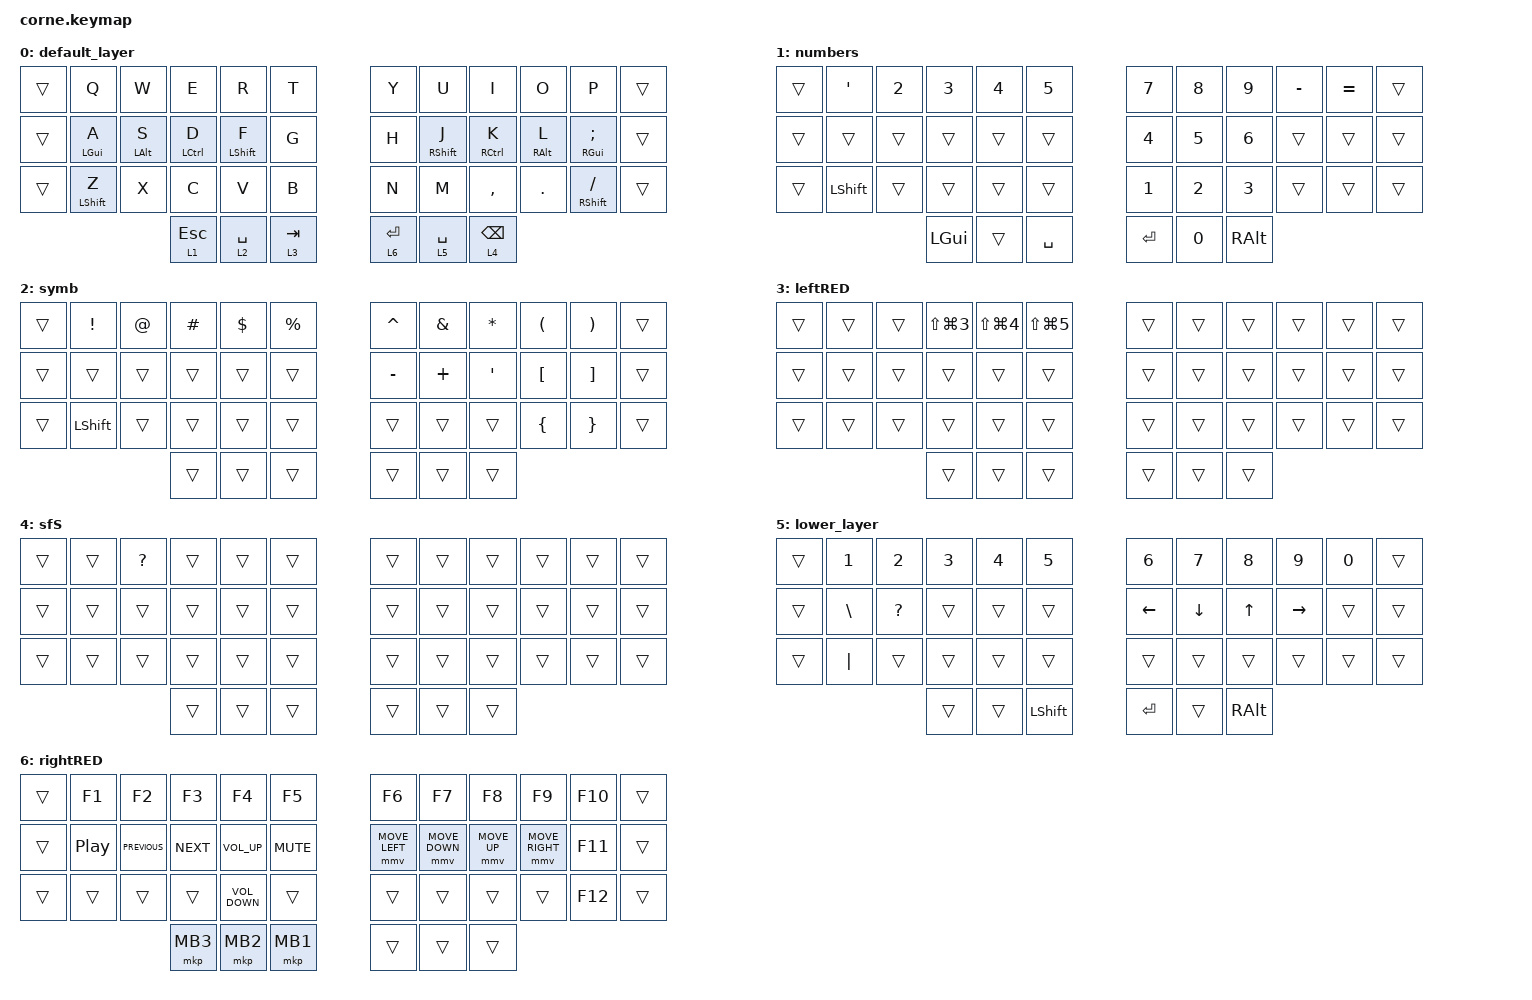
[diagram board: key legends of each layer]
/*
 * Copyright (c) 2020 The ZMK Contributors
 *
 * SPDX-License-Identifier: MIT
 */

#include <behaviors.dtsi>
#include <dt-bindings/zmk/keys.h>
#include <dt-bindings/zmk/pointing.h>

/ {
    combos {
        compatible = "zmk,combos";

        backspace {
            bindings = <&kp BACKSPACE>;
            key-positions = <10 9>;
        };

        deck {
            bindings = <&lt 0 C_AC_DESKTOP_SHOW_ALL_APPLICATIONS>;
            key-positions = <38 39>;
        };
    };

    keymap {
        compatible = "zmk,keymap";

        default_layer {
            // -----------------------------------------------------------------------------------------
            // |  TAB |  Q  |  W  |  E  |  R  |  T  |   |  Y  |  U   |  I  |  O  |  P  | BSPC |
            // | CTRL |  A  |  S  |  D  |  F  |  G  |   |  H  |  J   |  K  |  L  |  ;  |  '   |
            // | SHFT |  Z  |  X  |  C  |  V  |  B  |   |  N  |  M   |  ,  |  .  |  /  | ESC  |
            //                    | GUI | LWR | SPC |   | ENT | RSE  | ALT |

            bindings = <
&trans  &kp Q             &kp W           &kp E         &kp R             &kp T        &kp Y        &kp U              &kp I            &kp O            &kp P                  &trans
&trans  &mt LEFT_GUI A    &mt LEFT_ALT S  &mt LCTRL D   &mt LEFT_SHIFT F  &kp G        &kp H        &mt RIGHT_SHIFT J  &mt RCTRL K      &mt RIGHT_ALT L  &mt RIGHT_GUI SEMI     &trans
&trans  &mt LEFT_SHIFT Z  &kp X           &kp C         &kp V             &kp B        &kp N        &kp M              &kp COMMA        &kp DOT          &mt RIGHT_SHIFT SLASH  &trans
                                          &lt 1 ESCAPE  &lt 2 SPACE       &lt 3 TAB    &lt 6 ENTER  &lt 5 SPACE        &lt 4 BACKSPACE
            >;
        };

        numbers {
            // -----------------------------------------------------------------------------------------
            // |  TAB |  !  |  @  |  #  |  $  |  %  |   |  ^  |  &  |  *  |  (  |  )  | BSPC |
            // | CTRL |     |     |     |     |     |   |  -  |  =  |  [  |  ]  |  \  |  `   |
            // | SHFT |     |     |     |     |     |   |  _  |  +  |  {  |  }  | "|" |  ~   |
            //                    | GUI |     | SPC |   | ENT |     | ALT |

            bindings = <
&trans  &kp SINGLE_QUOTE  &kp N2  &kp N3    &kp N4  &kp N5       &kp N7   &kp N8  &kp N9    &kp MINUS  &kp EQUAL  &trans
&trans  &trans            &trans  &trans    &trans  &trans       &kp N4   &kp N5  &kp N6    &trans     &trans     &trans
&trans  &kp LSHFT         &trans  &trans    &trans  &trans       &kp N1   &kp N2  &kp N3    &trans     &trans     &trans
                                  &kp LGUI  &trans  &kp SPACE    &kp RET  &kp N0  &kp RALT
            >;
        };

        symb {
            bindings = <
&trans  &kp EXCLAMATION  &kp AT_SIGN  &kp HASH  &kp DOLLAR  &kp PERCENT    &kp CARET  &kp AMPERSAND  &kp ASTERISK  &kp LEFT_PARENTHESIS  &kp RIGHT_PARENTHESIS  &trans
&trans  &trans           &trans       &trans    &trans      &trans         &kp MINUS  &kp PLUS       &kp SQT       &kp LEFT_BRACKET      &kp RIGHT_BRACKET      &trans
&trans  &kp LEFT_SHIFT   &trans       &trans    &trans      &trans         &trans     &trans         &trans        &kp LEFT_BRACE        &kp RIGHT_BRACE        &trans
                                      &trans    &trans      &trans         &trans     &trans         &trans
            >;
        };

        leftRED {
            bindings = <
&trans  &trans  &trans  &kp LS(LG(NUMBER_3))  &kp LS(LG(NUMBER_4))  &kp LS(LG(N5))    &trans  &trans  &trans  &trans  &trans  &trans
&trans  &trans  &trans  &trans                &trans                &trans            &trans  &trans  &trans  &trans  &trans  &trans
&trans  &trans  &trans  &trans                &trans                &trans            &trans  &trans  &trans  &trans  &trans  &trans
                        &trans                &trans                &trans            &trans  &trans  &trans
            >;
        };

        sfS {
            bindings = <
&trans  &trans  &kp QUESTION  &trans  &trans  &trans    &trans  &trans  &trans  &trans  &trans  &trans
&trans  &trans  &trans        &trans  &trans  &trans    &trans  &trans  &trans  &trans  &trans  &trans
&trans  &trans  &trans        &trans  &trans  &trans    &trans  &trans  &trans  &trans  &trans  &trans
                              &trans  &trans  &trans    &trans  &trans  &trans
            >;
        };

        lower_layer {
            // -----------------------------------------------------------------------------------------
            // |  TAB |  1  |  2  |  3  |  4  |  5  |   |  6  |  7  |  8  |  9  |  0  | BSPC |
            // | BTCLR| BT1 | BT2 | BT3 | BT4 | BT5 |   | LFT | DWN |  UP | RGT |     |      |
            // | SHFT |     |     |     |     |     |   |     |     |     |     |     |      |
            //                    | GUI |     | SPC |   | ENT |     | ALT |

            bindings = <
&trans  &kp N1         &kp N2        &kp N3  &kp N4  &kp N5            &kp N6    &kp N7    &kp N8    &kp N9     &kp N0  &trans
&trans  &kp BACKSLASH  &kp QUESTION  &trans  &trans  &trans            &kp LEFT  &kp DOWN  &kp UP    &kp RIGHT  &trans  &trans
&trans  &kp PIPE       &trans        &trans  &trans  &trans            &trans    &trans    &trans    &trans     &trans  &trans
                                     &trans  &trans  &kp LEFT_SHIFT    &kp RET   &trans    &kp RALT
            >;
        };

        rightRED {
            bindings = <
&trans  &kp F1            &kp F2          &kp F3      &kp F4             &kp F5        &kp F6          &kp F7          &kp F8        &kp F9           &kp F10  &trans
&trans  &kp C_PLAY_PAUSE  &kp C_PREVIOUS  &kp C_NEXT  &kp C_VOLUME_UP    &kp C_MUTE    &mmv MOVE_LEFT  &mmv MOVE_DOWN  &mmv MOVE_UP  &mmv MOVE_RIGHT  &kp F11  &trans
&trans  &trans            &trans          &trans      &kp C_VOLUME_DOWN  &trans        &trans          &trans          &trans        &trans           &kp F12  &trans
                                          &mkp MB3    &mkp MB2           &mkp MB1      &trans          &trans          &trans
            >;
        };
    };
};
